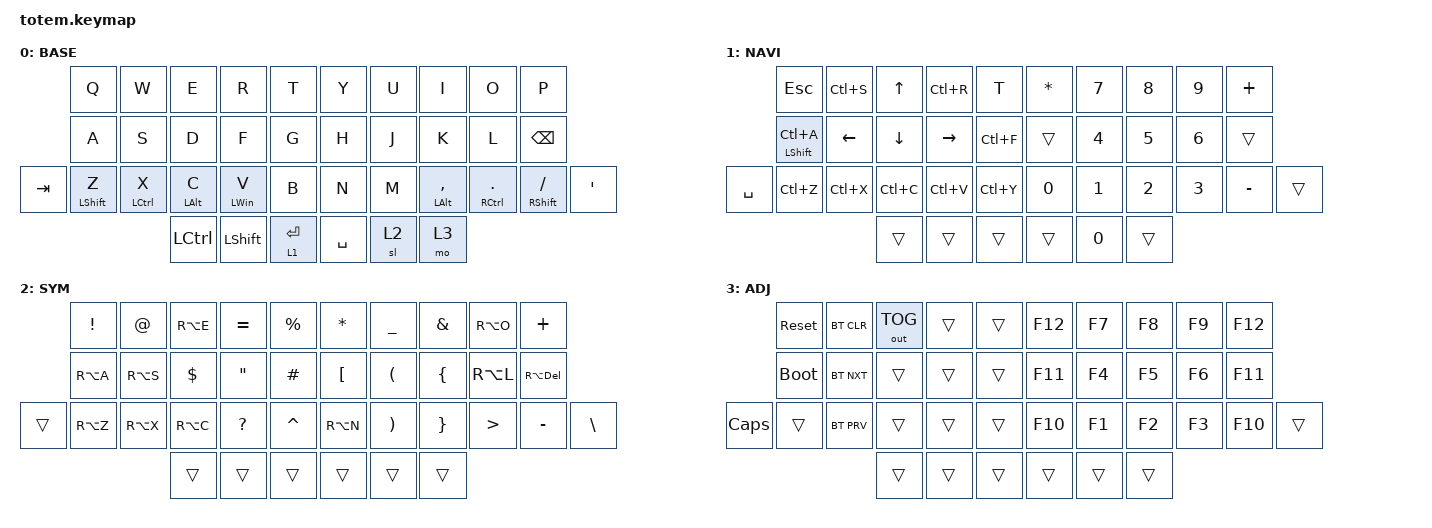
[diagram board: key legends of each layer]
//
//                                                        ▀▀▀▀▀     ▀▀▀▀▀          ▀▀█▀▀
//                                                        ▄▀▀▀▄  ▄  ▄▀▀▀▄  ▄  ▄▀▀▀▄  █  ▄▀▀▀▄
//                                                        █   █  █  █   █  █  █   █  █  █   █
//                                                         ▀▀▀   █   ▀▀▀   █   ▀▀▀   ▀   ▀▀▀
//                                                               █      ▄▄▄█▄▄▄    █   █  
//                                                               ▀      █  █  █     █▄█
//                                                             ▀▀▀▀▀    █  █  █      ▀
//                                                                      ▀  ▀  ▀
//
// ▄▄▄▄▄▄▄▄▄▄▄▄▄▄▄▄▄▄▄▄▄▄▄▄▄▄▄▄▄▄▄▄▄▄▄▄▄▄▄▄▄▄▄▄▄▄▄▄▄▄▄▄▄▄▄▄▄▄▄▄▄▄▄▄▄▄▄▄▄▄▄▄▄▄▄▄▄▄▄▄▄▄▄▄▄▄▄▄▄▄▄▄▄▄▄▄▄▄▄▄▄▄▄▄▄▄▄▄▄▄▄▄▄▄▄▄▄▄▄▄▄▄▄▄▄▄▄▄▄▄▄▄▄▄▄▄▄▄▄▄▄▄▄▄▄▄▄▄▄

#include <behaviors.dtsi>
#include <dt-bindings/zmk/bt.h>
#include <dt-bindings/zmk/keys.h>
#include <dt-bindings/zmk/outputs.h>

#define BASE 0
#define NAV  1
#define SYM  2
#define ADJ  3
#define TVP1 4
#define TVP2 5

&mt {
    quick-tap-ms = <100>;
    global-quick-tap;
    flavor = "tap-preferred";
    tapping-term-ms = <170>;
};

/ {
    combos {
        compatible = "zmk,combos";

        srednik {
            bindings = <&kp SEMICOLON>;
            key-positions = <28 29>;
            layers = <0>;
        };

        closer_braket {
            bindings = <&kp RIGHT_BRACKET>;
            key-positions = <27 28>;
            layers = <2>;
        };

        or {
            bindings = <&kp PIPE>;
            key-positions = <7 8>;
            layers = <2>;
        };

        nawias_ostry {
            bindings = <&kp LESS_THAN>;
            key-positions = <17 18>;
            layers = <2>;
        };

        open_bracket {
            bindings = <&kp LEFT_BRACKET>;
            key-positions = <16 17>;
            layers = <2>;
        };

        dwukropek {
            bindings = <&kp COLON>;
            key-positions = <28 29>;
            layers = <2>;
        };

        quote {
            bindings = <&kp SINGLE_QUOTE>;
            key-positions = <12 13>;
            layers = <2>;
        };

        quote_weard {
            bindings = <&kp GRAVE>;
            key-positions = <23 24>;
            layers = <2>;
        };
    };

    macros {
        gif: gif {
            label = "giphy";
            compatible = "zmk,behavior-macro";
            #binding-cells = <0>;
            bindings =
                <&macro_press>,
                <&kp LSHFT>,
                <&macro_tap>,
                <&kp N2>,
                <&macro_release>,
                <&kp LSHFT>,
                <&macro_tap>,
                <&kp G &kp I &kp F>;
        };
    };

    keymap {
        compatible = "zmk,keymap";

        // ▄▄▄▄▄▄▄▄▄▄▄▄▄▄▄▄▄▄▄▄▄▄▄▄▄▄▄▄▄▄▄▄▄▄▄▄▄▄▄▄▄▄▄▄▄▄▄▄▄▄▄▄▄▄▄▄▄▄▄▄▄▄▄▄▄▄▄▄▄▄▄▄▄▄▄▄▄▄▄▄▄▄▄▄▄▄▄▄▄▄▄▄▄▄▄▄▄▄▄▄▄▄▄▄▄▄▄▄▄▄▄▄▄▄▄▄▄▄▄▄▄▄▄▄▄▄▄▄▄▄▄▄▄▄▄▄▄▄▄▄▄▄▄▄▄▄▄▄▄

        base_layer {
            // ┏━━━━━━━━━━━━━━━━━━━━━━━━━━━━━━━━━━━━━━━┓

            label = "BASE";

            // ┗━━━━━━━━━━━━━━━━━━━━━━━━━━━━━━━━━━━━━━━┛
            //             ┏━━━━━━━━━━━┳━━━━━━━━━━━┳━━━━━━━━━━━┳━━━━━━━━━━━┳━━━━━━━━━━━┓   ┏━━━━━━━━━━━┳━━━━━━━━━━━┳━━━━━━━━━━━┳━━━━━━━━━━━┳━━━━━━━━━━━┓
            //             ┃     Q     ┃     W     ┃     F     ┃     P     ┃     G     ┃   ┃     J     ┃     L     ┃     U     ┃     Y     ┃     ;     ┃
            //             ┣━━━━━━━━━━━╋━━━━━━━━━━━╋━━━━━━━━━━━╋━━━━━━━━━━━╋━━━━━━━━━━━┫   ┣━━━━━━━━━━━╋━━━━━━━━━━━╋━━━━━━━━━━━╋━━━━━━━━━━━╋━━━━━━━━━━━┫
            //             ┃     A     ┃     R     ┃     S     ┃     T     ┃     D     ┃   ┃     H     ┃     N     ┃     E     ┃     I     ┃     O     ┃
            // ┏━━━━━━━━━━━╋━━━━━━━━━━━╋━━━━━━━━━━━╋━━━━━━━━━━━╋━━━━━━━━━━━╋━━━━━━━━━━━┫   ┣━━━━━━━━━━━╋━━━━━━━━━━━╋━━━━━━━━━━━╋━━━━━━━━━━━╋━━━━━━━━━━━╋━━━━━━━━━━━┓
            // ┃     Q     ┃     Z     ┃     X     ┃     C     ┃     V     ┃     B     ┃   ┃     K     ┃     M     ┃     ,     ┃     .     ┃     /     ┃     \     ┃
            // ┗━━━━━━━━━━━┻━━━━━━━━━━━┻━━━━━━━━━━━╋━━━━━━━━━━━╋━━━━━━━━━━━╋━━━━━━━━━━━┫   ┣━━━━━━━━━━━╋━━━━━━━━━━━╋━━━━━━━━━━━╋━━━━━━━━━━━┻━━━━━━━━━━━┻━━━━━━━━━━━┛
            //                                     ┃    DEL    ┃    TAB    ┃    SPC    ┃   ┃   ENTER   ┃           ┃   BSPC    ┃
            //                                     ┗━━━━━━━━━━━┻━━━━━━━━━━━┻━━━━━━━━━━━┛   ┗━━━━━━━━━━━┻━━━━━━━━━━━┻━━━━━━━━━━━┛

            bindings = <
         &kp Q             &kp W        &kp E           &kp R           &kp T          &kp Y      &kp U  &kp I               &kp O          &kp P
         &kp A             &kp S        &kp D           &kp F           &kp G          &kp H      &kp J  &kp K               &kp L          &kp BACKSPACE
&kp TAB  &mt LEFT_SHIFT Z  &mt LCTRL X  &mt LEFT_ALT C  &mt LWIN V      &kp B          &kp N      &kp M  &mt LEFT_ALT COMMA  &mt RCTRL DOT  &mt RIGHT_SHIFT SLASH  &kp SINGLE_QUOTE
                                        &kp LCTRL       &kp LEFT_SHIFT  &lt 1 ENTER    &kp SPACE  &sl 2  &mo 3
            >;
        };

        // ▄▄▄▄▄▄▄▄▄▄▄▄▄▄▄▄▄▄▄▄▄▄▄▄▄▄▄▄▄▄▄▄▄▄▄▄▄▄▄▄▄▄▄▄▄▄▄▄▄▄▄▄▄▄▄▄▄▄▄▄▄▄▄▄▄▄▄▄▄▄▄▄▄▄▄▄▄▄▄▄▄▄▄▄▄▄▄▄▄▄▄▄▄▄▄▄▄▄▄▄▄▄▄▄▄▄▄▄▄▄▄▄▄▄▄▄▄▄▄▄▄▄▄▄▄▄▄▄▄▄▄▄▄▄▄▄▄▄▄▄▄▄▄▄▄▄▄▄▄

        nav_layer {
            // ┏━━━━━━━━━━━━━━━━━━━━━━━━━━━━━━━━━━━━━━━┓

            label = "NAVI";

            // ┗━━━━━━━━━━━━━━━━━━━━━━━━━━━━━━━━━━━━━━━┛
            //             ┏━━━━━━━━━━━┳━━━━━━━━━━━┳━━━━━━━━━━━┳━━━━━━━━━━━┳━━━━━━━━━━━┓   ┏━━━━━━━━━━━┳━━━━━━━━━━━┳━━━━━━━━━━━┳━━━━━━━━━━━┳━━━━━━━━━━━┓
            //             ┃           ┃           ┃     UP    ┃           ┃     {     ┃   ┃     }     ┃     7     ┃     8     ┃     9     ┃     +     ┃
            //             ┣━━━━━━━━━━━╋━━━━━━━━━━━╋━━━━━━━━━━━╋━━━━━━━━━━━╋━━━━━━━━━━━┫   ┣━━━━━━━━━━━╋━━━━━━━━━━━╋━━━━━━━━━━━╋━━━━━━━━━━━╋━━━━━━━━━━━┫
            //             ┃   SHIFT   ┃   LEFT    ┃    DOWN   ┃   RIGHT   ┃     [     ┃   ┃     ]     ┃     4     ┃     5     ┃     6     ┃     -     ┃
            // ┏━━━━━━━━━━━╋━━━━━━━━━━━╋━━━━━━━━━━━╋━━━━━━━━━━━╋━━━━━━━━━━━╋━━━━━━━━━━━┫   ┣━━━━━━━━━━━╋━━━━━━━━━━━╋━━━━━━━━━━━╋━━━━━━━━━━━╋━━━━━━━━━━━╋━━━━━━━━━━━┓
            // ┃           ┃           ┃   P UP    ┃  C LOCK   ┃  P DOWN   ┃     (     ┃   ┃     )     ┃     1     ┃     2     ┃     3     ┃     *     ┃           ┃
            // ┗━━━━━━━━━━━┻━━━━━━━━━━━┻━━━━━━━━━━━╋━━━━━━━━━━━╋━━━━━━━━━━━╋━━━━━━━━━━━┫   ┣━━━━━━━━━━━╋━━━━━━━━━━━╋━━━━━━━━━━━╋━━━━━━━━━━━┻━━━━━━━━━━━┻━━━━━━━━━━━┛
            //                                     ┃           ┃    TAB    ┃    SPC    ┃   ┃    DEL    ┃     0     ┃           ┃
            //                                     ┗━━━━━━━━━━━┻━━━━━━━━━━━┻━━━━━━━━━━━┛   ┗━━━━━━━━━━━┻━━━━━━━━━━━┻━━━━━━━━━━━┛

            bindings = <
           &kp ESC          &kp LC(S)  &kp UP     &kp LC(R)  &kp T        &kp STAR  &kp N7        &kp N8        &kp N9        &kp PLUS
           &mt LSHFT LC(A)  &kp LEFT   &kp DOWN   &kp RIGHT  &kp LC(F)    &trans    &kp NUMBER_4  &kp N5        &kp NUMBER_6  &trans
&kp SPACE  &kp LC(Z)        &kp LC(X)  &kp LC(C)  &kp LC(V)  &kp LC(Y)    &kp N0    &kp N1        &kp NUMBER_2  &kp NUMBER_3  &kp MINUS  &trans
                                       &trans     &trans     &trans       &trans    &kp N0        &trans
            >;
        };

        // ▄▄▄▄▄▄▄▄▄▄▄▄▄▄▄▄▄▄▄▄▄▄▄▄▄▄▄▄▄▄▄▄▄▄▄▄▄▄▄▄▄▄▄▄▄▄▄▄▄▄▄▄▄▄▄▄▄▄▄▄▄▄▄▄▄▄▄▄▄▄▄▄▄▄▄▄▄▄▄▄▄▄▄▄▄▄▄▄▄▄▄▄▄▄▄▄▄▄▄▄▄▄▄▄▄▄▄▄▄▄▄▄▄▄▄▄▄▄▄▄▄▄▄▄▄▄▄▄▄▄▄▄▄▄▄▄▄▄▄▄▄▄▄▄▄▄▄▄▄

        sim_layer {
            // ┏━━━━━━━━━━━━━━━━━━━━━━━━━━━━━━━━━━━━━━━┓

            label = "SYM";

            // ┗━━━━━━━━━━━━━━━━━━━━━━━━━━━━━━━━━━━━━━━┛
            //             ┏━━━━━━━━━━━┳━━━━━━━━━━━┳━━━━━━━━━━━┳━━━━━━━━━━━┳━━━━━━━━━━━┓   ┏━━━━━━━━━━━┳━━━━━━━━━━━┳━━━━━━━━━━━┳━━━━━━━━━━━┳━━━━━━━━━━━┓
            //             ┃     !     ┃     @     ┃     #     ┃     $     ┃     %     ┃   ┃     ˆ     ┃     &     ┃     Ü     ┃     '     ┃     "     ┃
            //             ┣━━━━━━━━━━━╋━━━━━━━━━━━╋━━━━━━━━━━━╋━━━━━━━━━━━╋━━━━━━━━━━━┫   ┣━━━━━━━━━━━╋━━━━━━━━━━━╋━━━━━━━━━━━╋━━━━━━━━━━━╋━━━━━━━━━━━┫
            //             ┃     Ä     ┃           ┃    SZ     ┃           ┃           ┃   ┃   MUTE    ┃   YEN     ┃   EURO    ┃  POUND    ┃     Ö     ┃
            // ┏━━━━━━━━━━━╋━━━━━━━━━━━╋━━━━━━━━━━━╋━━━━━━━━━━━╋━━━━━━━━━━━╋━━━━━━━━━━━┫   ┣━━━━━━━━━━━╋━━━━━━━━━━━╋━━━━━━━━━━━╋━━━━━━━━━━━╋━━━━━━━━━━━╋━━━━━━━━━━━┓
            // ┃           ┃  EMAIL1   ┃  EMAIL2   ┃           ┃           ┃           ┃   ┃   VOL-    ┃   VOL+    ┃   LAST    ┃   NEXT    ┃     \     ┃           ┃
            // ┗━━━━━━━━━━━┻━━━━━━━━━━━┻━━━━━━━━━━━╋━━━━━━━━━━━╋━━━━━━━━━━━╋━━━━━━━━━━━┫   ┣━━━━━━━━━━━╋━━━━━━━━━━━╋━━━━━━━━━━━╋━━━━━━━━━━━┻━━━━━━━━━━━┻━━━━━━━━━━━┛
            //                                     ┃           ┃    GIF    ┃    ADJ    ┃   ┃           ┃           ┃           ┃
            //                                     ┗━━━━━━━━━━━┻━━━━━━━━━━━┻━━━━━━━━━━━┛   ┗━━━━━━━━━━━┻━━━━━━━━━━━┻━━━━━━━━━━━┛

            bindings = <
        &kp EXCL   &kp AT     &kp RA(E)   &kp EQUAL          &kp PRCNT    &kp STAR          &kp UNDER              &kp AMPERSAND    &kp RA(O)         &kp PLUS
        &kp RA(A)  &kp RA(S)  &kp DOLLAR  &kp DOUBLE_QUOTES  &kp HASH     &kp LEFT_BRACKET  &kp LEFT_PARENTHESIS   &kp LEFT_BRACE   &kp RA(L)         &kp RA(DELETE)
&trans  &kp RA(Z)  &kp RA(X)  &kp RA(C)   &kp QUESTION       &kp CARET    &kp RA(N)         &kp RIGHT_PARENTHESIS  &kp RIGHT_BRACE  &kp GREATER_THAN  &kp MINUS       &kp BACKSLASH
                              &trans      &trans             &trans       &trans            &trans                 &trans
            >;
        };

        // ▄▄▄▄▄▄▄▄▄▄▄▄▄▄▄▄▄▄▄▄▄▄▄▄▄▄▄▄▄▄▄▄▄▄▄▄▄▄▄▄▄▄▄▄▄▄▄▄▄▄▄▄▄▄▄▄▄▄▄▄▄▄▄▄▄▄▄▄▄▄▄▄▄▄▄▄▄▄▄▄▄▄▄▄▄▄▄▄▄▄▄▄▄▄▄▄▄▄▄▄▄▄▄▄▄▄▄▄▄▄▄▄▄▄▄▄▄▄▄▄▄▄▄▄▄▄▄▄▄▄▄▄▄▄▄▄▄▄▄▄▄▄▄▄▄▄▄▄▄

        adjust_layer {
            // ┏━━━━━━━━━━━━━━━━━━━━━━━━━━━━━━━━━━━━━━━┓

            label = "ADJ";

            // ┗━━━━━━━━━━━━━━━━━━━━━━━━━━━━━━━━━━━━━━━┛
            //             ┏━━━━━━━━━━━┳━━━━━━━━━━━┳━━━━━━━━━━━┳━━━━━━━━━━━┳━━━━━━━━━━━┓   ┏━━━━━━━━━━━┳━━━━━━━━━━━┳━━━━━━━━━━━┳━━━━━━━━━━━┳━━━━━━━━━━━┓
            //             ┃   RESET   ┃ BT CLEAR  ┃  OUT TOG  ┃           ┃           ┃   ┃           ┃    F7     ┃    F8     ┃    F9     ┃    F12    ┃
            //             ┣━━━━━━━━━━━╋━━━━━━━━━━━╋━━━━━━━━━━━╋━━━━━━━━━━━╋━━━━━━━━━━━┫   ┣━━━━━━━━━━━╋━━━━━━━━━━━╋━━━━━━━━━━━╋━━━━━━━━━━━╋━━━━━━━━━━━┫
            //             ┃ BOOTLOAD  ┃ BT NEXT   ┃           ┃           ┃           ┃   ┃           ┃    F4     ┃    F5     ┃    F6     ┃    F11    ┃
            // ┏━━━━━━━━━━━╋━━━━━━━━━━━╋━━━━━━━━━━━╋━━━━━━━━━━━╋━━━━━━━━━━━╋━━━━━━━━━━━┫   ┣━━━━━━━━━━━╋━━━━━━━━━━━╋━━━━━━━━━━━╋━━━━━━━━━━━╋━━━━━━━━━━━╋━━━━━━━━━━━┓
            // ┃           ┃           ┃ BT PREV   ┃           ┃           ┃           ┃   ┃           ┃    F1     ┃    F2     ┃    F3     ┃    F10    ┃           ┃
            // ┗━━━━━━━━━━━┻━━━━━━━━━━━┻━━━━━━━━━━━╋━━━━━━━━━━━╋━━━━━━━━━━━╋━━━━━━━━━━━┫   ┣━━━━━━━━━━━╋━━━━━━━━━━━╋━━━━━━━━━━━╋━━━━━━━━━━━┻━━━━━━━━━━━┻━━━━━━━━━━━┛
            //                                     ┃           ┃           ┃           ┃   ┃           ┃           ┃           ┃
            //                                     ┗━━━━━━━━━━━┻━━━━━━━━━━━┻━━━━━━━━━━━┛   ┗━━━━━━━━━━━┻━━━━━━━━━━━┻━━━━━━━━━━━┛

            bindings = <
          &sys_reset   &bt BT_CLR  &out OUT_TOG  &trans  &trans    &kp F12  &kp F7  &kp F8  &kp F9  &kp F12
          &bootloader  &bt BT_NXT  &trans        &trans  &trans    &kp F11  &kp F4  &kp F5  &kp F6  &kp F11
&kp CLCK  &trans       &bt BT_PRV  &trans        &trans  &trans    &kp F10  &kp F1  &kp F2  &kp F3  &kp F10  &trans
                                   &trans        &trans  &trans    &trans   &trans  &trans
            >;
        };

        // ▄▄▄▄▄▄▄▄▄▄▄▄▄▄▄▄▄▄▄▄▄▄▄▄▄▄▄▄▄▄▄▄▄▄▄▄▄▄▄▄▄▄▄▄▄▄▄▄▄▄▄▄▄▄▄▄▄▄▄▄▄▄▄▄▄▄▄▄▄▄▄▄▄▄▄▄▄▄▄▄▄▄▄▄▄▄▄▄▄▄▄▄▄▄▄▄▄▄▄▄▄▄▄▄▄▄▄▄▄▄▄▄▄▄▄▄▄▄▄▄▄▄▄▄▄▄▄▄▄▄▄▄▄▄▄▄▄▄▄▄▄▄▄▄▄▄▄▄▄
        // ▄▄▄▄▄▄▄▄▄▄▄▄▄▄▄▄▄▄▄▄▄▄▄▄▄▄▄▄▄▄▄▄▄▄▄▄▄▄▄▄▄▄▄▄▄▄▄▄▄▄▄▄▄▄▄▄▄▄▄▄▄▄▄▄▄▄▄▄▄▄▄▄▄▄▄▄▄▄▄▄▄▄▄▄▄▄▄▄▄▄▄▄▄▄▄▄▄▄▄▄▄▄▄▄▄▄▄▄▄▄▄▄▄▄▄▄▄▄▄▄▄▄▄▄▄▄▄▄▄▄▄▄▄▄▄▄▄▄▄▄▄▄▄▄▄▄▄▄▄
    };
};
